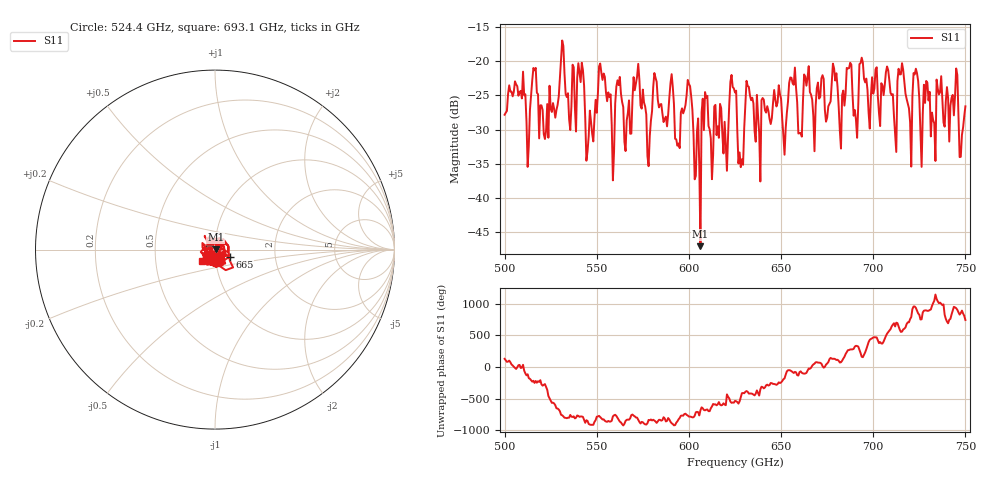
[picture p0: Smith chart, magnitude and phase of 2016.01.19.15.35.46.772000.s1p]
!Created with skrf (http://scikit-rf.org).
# GHz S RI R 50.0
!freq ReS11 ImS11
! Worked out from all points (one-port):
!   401 points, 500 GHz to 750 GHz, reference 50 ohm
!   lowest |S11| = -47.1 dB at 606.2 GHz (marker M1), VSWR 1.01, Z = 50.4 + j0.247 ohm
!   |S11| at or under -10 dB: start of sweep to end of sweep
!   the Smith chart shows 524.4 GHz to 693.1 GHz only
!   S11 on the Smith chart (normalised r, x): 524.4 GHz: 0.91, -0.08; 665 GHz: 1.17, -0.10; 693.1 GHz: 0.86, -0.11
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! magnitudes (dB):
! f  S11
! 500 GHz  -27.8
! 524.4 GHz  -23.6
! 531.2 GHz  -17.0
! 535 GHz  -28.5
! 541.2 GHz  -23.1
! 545.6 GHz  -31.0
! 552.5 GHz  -21.7
! 558.8 GHz  -37.4
! 562.5 GHz  -22.3
! 578.1 GHz  -35.4
! 581.2 GHz  -21.7
! 590.6 GHz  -21.9
! 593.8 GHz  -32.4
! 600 GHz  -23.3
! 606.2 GHz  -47.1
! 625 GHz  -24.6
! 628.1 GHz  -35.5
! 631.9 GHz  -23.6
! 651.9 GHz  -33.7
! 656.2 GHz  -23.2
! 660 GHz  -30.5
! 665 GHz  -20.7
! 683.1 GHz  -24.9
! 687.5 GHz  -20.2
! 690.6 GHz  -28.6
! 693.1 GHz  -20.3
! 718.8 GHz  -26.2
! 750 GHz  -26.6
